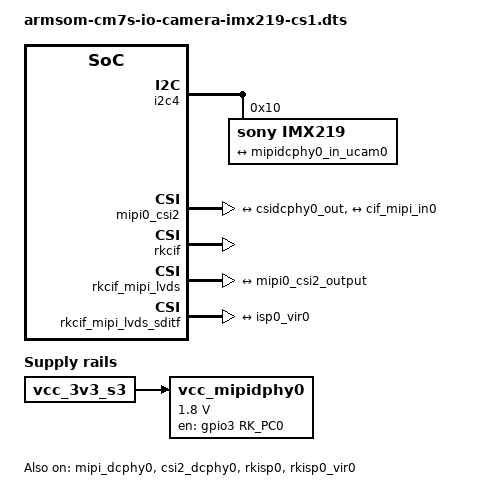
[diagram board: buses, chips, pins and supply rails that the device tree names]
// SPDX-License-Identifier: GPL-2.0
/dts-v1/;
/plugin/;

#include <dt-bindings/gpio/gpio.h>
#include <dt-bindings/pinctrl/rockchip.h>
#include <dt-bindings/clock/rk3588-cru.h>
#include <dt-bindings/power/rk3588-power.h>

/ {
	fragment@0 {
		target-path = "/";
		__overlay__ {
			vcc_mipidphy0: vcc-mipi-dphy0 {
				compatible = "regulator-fixed";
				regulator-name = "vcc_mipidphy0";
				regulator-min-microvolt = <1800000>;
				regulator-max-microvolt = <1800000>;
				gpios = <&gpio3 RK_PC0 GPIO_ACTIVE_HIGH>;
				regulator-always-on;
				regulator-boot-on;
				enable-active-high;
				vin-supply = <&vcc_3v3_s3>;
				regulator-state-mem {
					regulator-off-in-suspend;
				};
			};
		};
	};

	fragment@1 {
		target = <&i2c4>;
		__overlay__ {
			status = "okay";
			#address-cells = <1>;
			#size-cells = <0>;
			pinctrl-names = "default";
			pinctrl-0 = <&i2c4m3_xfer>;
			imx219: imx219@10 {
				compatible = "sony,imx219";
				status = "okay";
				reg = <0x10>;
				clocks = <&cru CLK_MIPI_CAMARAOUT_M2>;
				clock-names = "xvclk";
				assigned-clocks = <&cru CLK_MIPI_CAMARAOUT_M2>;
				assigned-clock-rates = <24000000>;
				pinctrl-names = "default";
				pinctrl-0 = <&mipim0_camera2_clk>;
				power-domains = <&power RK3588_PD_VI>;
				rockchip,camera-module-index = <1>;
				rockchip,camera-module-facing = "back";
				rockchip,camera-module-name = "rpi-camera-v2";
				rockchip,camera-module-lens-name = "default";
				port {
					imx219_out: endpoint {
						remote-endpoint = <&mipidcphy0_in_ucam0>;
						data-lanes = <1 2>;
						clock-noncontinuous;
						link-frequencies = /bits/ 64 <456000000>;
					};
				};
			};
		};
	};

	fragment@2 {
		target = <&mipi_dcphy0>;
		__overlay__ {
			status = "okay";
		};
	};

	fragment@3 {
		target = <&csi2_dcphy0>;
		__overlay__ {
			status = "okay";

			ports {
				#address-cells = <1>;
				#size-cells = <0>;
				port@0 {
					reg = <0>;
					#address-cells = <1>;
					#size-cells = <0>;

					mipidcphy0_in_ucam0: endpoint@0 {
						reg = <0>;
						remote-endpoint = <&imx219_out>;
						data-lanes = <1 2>;
					};
				};
				port@1 {
					reg = <1>;
					#address-cells = <1>;
					#size-cells = <0>;

					csidcphy0_out: endpoint@0 {
						reg = <0>;
						remote-endpoint = <&mipi0_csi2_input>;
					};
				};
			};
		};
	};

	fragment@4 {
		target = <&mipi0_csi2>;
		__overlay__ {
			status = "okay";

			ports {
				#address-cells = <1>;
				#size-cells = <0>;

				port@0 {
					reg = <0>;
					#address-cells = <1>;
					#size-cells = <0>;

					mipi0_csi2_input: endpoint@1 {
						reg = <1>;
						remote-endpoint = <&csidcphy0_out>;
					};
				};

				port@1 {
					reg = <1>;
					#address-cells = <1>;
					#size-cells = <0>;

					mipi0_csi2_output: endpoint@0 {
						reg = <0>;
						remote-endpoint = <&cif_mipi_in0>;
					};
				};
			};
		};
	};

	fragment@5 {
		target = <&rkcif>;
		__overlay__ {
			status = "okay";
		};
	};

	fragment@6 {
		target = <&rkcif_mipi_lvds>;
		__overlay__ {
			status = "okay";

			port {
				cif_mipi_in0: endpoint {
					remote-endpoint = <&mipi0_csi2_output>;
				};
			};
		};
	};

	fragment@7 {
		target = <&rkcif_mipi_lvds_sditf>;
		__overlay__ {
			status = "okay";

			port {
				mipi_lvds_sditf: endpoint {
					remote-endpoint = <&isp0_vir0>;
				};
			};
		};
	};

	fragment@8 {
		target = <&rkcif_mmu>;
		__overlay__ {
			status = "okay";
		};
	};

	fragment@9 {
		target = <&rkisp0>;
		__overlay__ {
			status = "okay";
		};
	};

	fragment@10 {
		target = <&isp0_mmu>;
		__overlay__ {
			status = "okay";
		};
	};

	fragment@11 {
		target = <&rkisp0_vir0>;
		__overlay__ {
			status = "okay";

			port {
				#address-cells = <1>;
				#size-cells = <0>;

				isp0_vir0: endpoint@0 {
					reg = <0>;
					remote-endpoint = <&mipi_lvds_sditf>;
				};
			};
		};
	};
};
